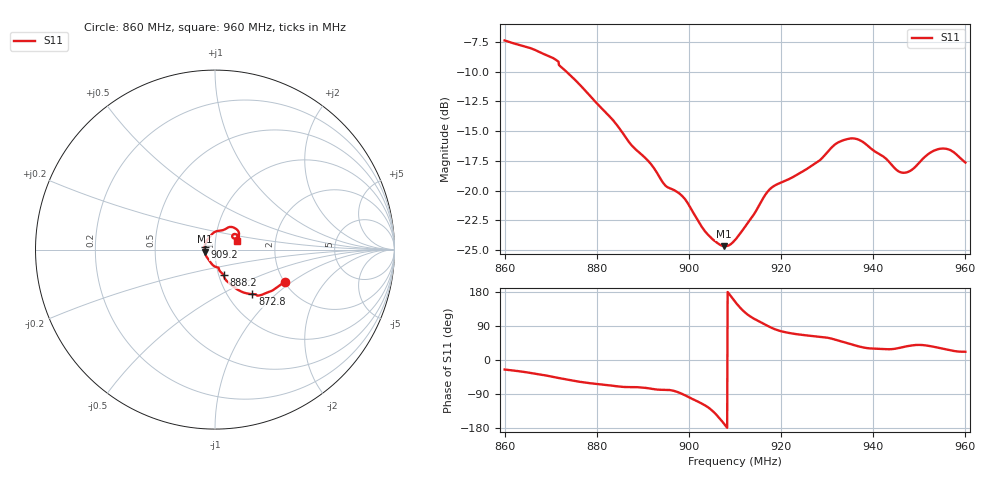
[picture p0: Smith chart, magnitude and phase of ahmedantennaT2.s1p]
!Keysight Technologies,N5222B,MY58422327,A.13.60.06
!Date: Wednesday, February 23, 2022 13:00:22
!Correction: S11(Full 1 Port(1))
!S1P File: Measurement: S11:
# Hz S  dB  R 50
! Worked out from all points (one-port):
!   1001 points, 860 MHz to 960 MHz, reference 50 ohm
!   lowest |S11| = -24.7 dB at 907.6 MHz (marker M1), VSWR 1.12, Z = 44.6 - j1.1 ohm
!   |S11| at or under -10 dB: 873.4 MHz to end of sweep
!   S11 on the Smith chart (normalised r, x): 860 MHz: 2.00, -0.89; 872.8 MHz: 1.30, -0.72; 888.2 MHz: 1.05, -0.31; 909.2 MHz: 0.89, +0.02; 960 MHz: 1.27, +0.13
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8.6e8  -7.38 -25.1
8.7e8  -8.76 -43.2
8.725e8  -9.68 -49.3
8.728e8  -9.79 -50.0
8.783e8  -11.93 -60.9
8.85e8  -14.82 -70.2
8.882e8  -16.45 -71.6
8.916e8  -17.70 -75.4
8.948e8  -19.54 -78.7
8.975e8  -20.12 -84.4
8.994e8  -20.85 -94.5
9.038e8  -23.57 -122.0
9.076e8  -24.67 -167.9
9.092e8  -24.47 166.6
9.1e8  -24.16 154.1
9.173e8  -19.99 88.7
9.225e8  -18.88 69.8
9.282e8  -17.51 61.5
9.32e8  -16.04 52.8
9.35e8  -15.62 42.3
9.375e8  -15.85 34.0
9.433e8  -17.52 28.3
9.456e8  -18.40 31.7
9.475e8  -18.44 36.7
9.52e8  -16.91 37.4
9.544e8  -16.49 31.8
9.568e8  -16.61 25.5
9.6e8  -17.64 21.8
